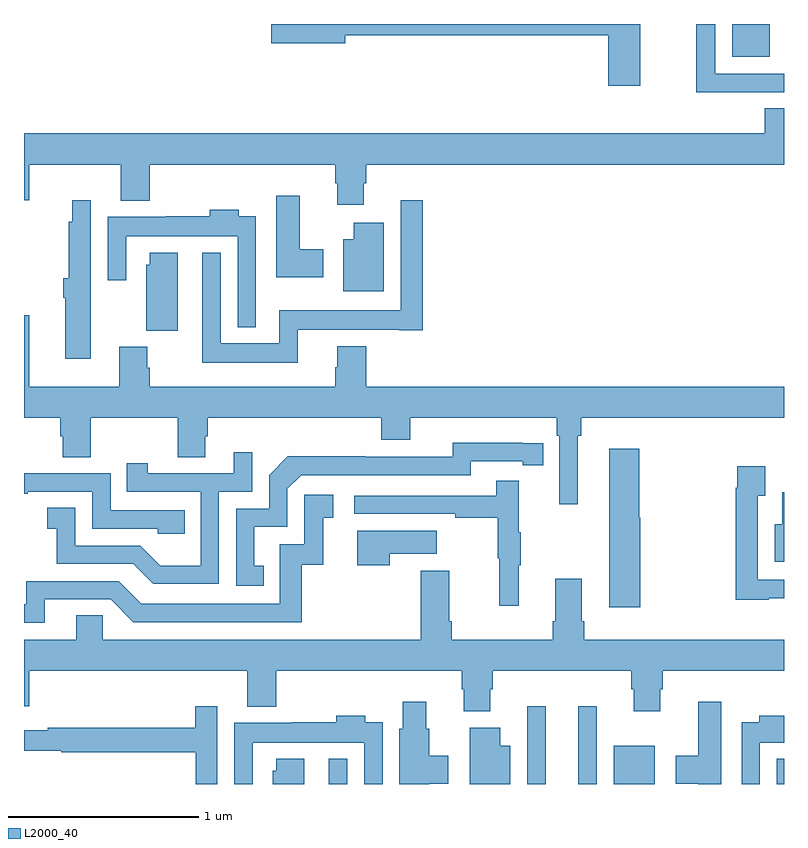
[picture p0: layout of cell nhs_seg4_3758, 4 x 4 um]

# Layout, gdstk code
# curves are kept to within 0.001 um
import gdstk
lib = gdstk.Library(unit=1e-6, precision=1e-09)
def R(c, l, rs):  # rectangles x0, y0, x1, y1
    for r in rs: c.add(gdstk.rectangle(r[:2], r[2:], *l))
def P(c, l, *ps):  # polygons
    for p in ps: c.add(gdstk.Polygon(p, *l))
L2000_40 = (2000, 40)

nhs_seg4_3758 = lib.new_cell('nhs_seg4_3758')
R(nhs_seg4_3758, L2000_40, [(310.604,786.9,310.701,787.033), (311.649,786.9,311.746,787.309), (311.918,786.9,312.015,787.309), (312.104,786.9,312.319,787.102), (312.963,786.9,313,787.033), (312.728,790.727,312.925,790.9)])
P(nhs_seg4_3758, L2000_40, [(312.815,790.542),(313,790.542),(313,790.638),(312.639,790.638),(312.639,790.9),(312.538,790.9),(312.538,790.541),(312.815,790.541)],
  [(312.244,790.9),(310.302,790.9),(310.302,790.798),(310.69,790.798),(310.69,790.84),(312.074,790.84),(312.074,790.575),(312.244,790.575)],
  [(310.789,790.062),(310.802,790.062),(310.802,790.16),(313,790.16),(313,790.457),(312.899,790.457),(312.899,790.324),(309,790.324),(309,789.972),(309.028,789.972),(309.028,790.16),(309.509,790.16),(309.509,789.971),(309.662,789.971),(309.662,790.16),(310.637,790.16),(310.637,790.062),(310.649,790.062),(310.649,789.948),(310.789,789.948)],
  [(310.576,789.714),(310.45,789.714),(310.45,789.997),(310.328,789.997),(310.328,789.566),(310.576,789.566)],
  [(309.352,789.458),(309.351,789.458),(309.351,789.973),(309.253,789.973),(309.253,789.86),(309.235,789.86),(309.235,789.562),(309.206,789.562),(309.206,789.458),(309.218,789.458),(309.218,789.138),(309.352,789.138)],
  [(310.442,789.29),(310.976,789.29),(310.976,789.288),(311.099,789.288),(311.099,789.973),(310.983,789.973),(310.983,789.394),(310.344,789.394),(310.344,789.22),(310.035,789.22),(310.035,789.697),(309.938,789.697),(309.938,789.116),(310.442,789.116)],
  [(310.221,789.889),(310.129,789.889),(310.129,789.922),(309.977,789.922),(309.977,789.889),(309.745,789.889),(309.745,789.886),(309.441,789.886),(309.441,789.552),(309.537,789.552),(309.537,789.782),(310.125,789.782),(310.125,789.305),(310.221,789.305)],
  [(310.894,789.853),(310.736,789.853),(310.736,789.766),(310.679,789.766),(310.679,789.494),(310.894,789.494)],
  [(309.808,789.697),(309.662,789.697),(309.662,789.633),(309.644,789.633),(309.644,789.286),(309.808,789.286)],
  [(311.914,788.732),(311.933,788.732),(311.933,788.828),(313,788.828),(313,788.992),(310.802,788.992),(310.802,789.205),(310.649,789.205),(310.649,789.093),(310.637,789.093),(310.637,788.992),(309.662,788.992),(309.662,789.092),(309.649,789.092),(309.649,789.201),(309.502,789.201),(309.502,788.992),(309.028,788.992),(309.028,789.367),(309,789.367),(309,788.828),(309.191,788.828),(309.191,788.73),(309.203,788.73),(309.203,788.62),(309.351,788.62),(309.351,788.828),(309.808,788.828),(309.808,788.62),(309.955,788.62),(309.955,788.73),(309.968,788.73),(309.968,788.828),(310.88,788.828),(310.88,788.711),(311.032,788.711),(311.032,788.828),(311.804,788.828),(311.804,788.732),(311.817,788.732),(311.817,788.373),(311.914,788.373)],
  [(310.262,788.049),(310.213,788.049),(310.213,788.253),(310.386,788.253),(310.386,788.454),(310.458,788.526),(311.352,788.526),(311.352,788.598),(311.624,788.598),(311.624,788.578),(311.732,788.578),(311.732,788.694),(311.256,788.695),(311.256,788.622),(310.796,788.622),(310.796,788.624),(310.388,788.624),(310.29,788.526),(310.29,788.349),(310.116,788.349),(310.116,787.944),(310.262,787.944)],
  [(312.244,788.301),(312.239,788.301),(312.239,788.665),(312.08,788.665),(312.08,787.83),(312.244,787.83)],
  [(310.026,788.439),(310.2,788.439),(310.2,788.647),(310.103,788.647),(310.103,788.535),(309.652,788.535),(309.652,788.587),(309.541,788.587),(309.541,788.439),(309.93,788.439),(309.93,788.05),(309.716,788.05),(309.612,788.154),(309.27,788.154),(309.27,788.353),(309.123,788.353),(309.123,788.243),(309.172,788.243),(309.172,788.058),(309.575,788.058),(309.68,787.953),(310.026,787.953)],
  [(312.921,787.878),(313,787.878),(313,787.974),(312.861,787.974),(312.861,788.416),(312.901,788.416),(312.901,788.572),(312.753,788.572),(312.753,788.459),(312.745,788.459),(312.745,787.871),(312.921,787.871)],
  [(309.845,788.34),(309.456,788.34),(309.456,788.535),(309,788.535),(309,788.427),(309.019,788.427),(309.019,788.439),(309.36,788.439),(309.36,788.244),(309.705,788.244),(309.705,788.217),(309.845,788.217)],
  [(311.603,788.051),(311.614,788.051),(311.614,788.225),(311.603,788.225),(311.603,788.497),(311.485,788.497),(311.485,788.418),(310.737,788.418),(310.737,788.322),(311.269,788.322),(311.269,788.302),(311.493,788.302),(311.493,788.088),(311.5,788.088),(311.5,787.839),(311.603,787.839)],
  [(313,788.436),(312.992,788.436),(312.992,788.266),(312.95,788.266),(312.95,788.069),(313,788.069)],
  [(309.109,787.872),(309.456,787.872),(309.576,787.752),(310.463,787.752),(310.463,788.055),(310.574,788.055),(310.574,788.301),(310.627,788.301),(310.627,788.422),(310.476,788.422),(310.476,788.163),(310.347,788.163),(310.347,787.848),(309.618,787.848),(309.498,787.968),(309.012,787.968),(309.012,787.845),(309,787.845),(309,787.749),(309.109,787.749)],
  [(310.925,788.111),(311.173,788.111),(311.173,788.233),(310.754,788.233),(310.754,788.052),(310.925,788.052)],
  [(311.455,787.398),(311.468,787.398),(311.468,787.496),(312.197,787.496),(312.197,787.398),(312.209,787.398),(312.209,787.284),(312.349,787.284),(312.349,787.398),(312.362,787.398),(312.362,787.496),(313,787.496),(313,787.66),(311.948,787.66),(311.948,787.756),(311.935,787.756),(311.935,787.981),(311.795,787.981),(311.795,787.756),(311.783,787.756),(311.783,787.66),(311.252,787.66),(311.252,787.756),(311.239,787.756),(311.239,788.023),(311.087,788.023),(311.087,787.66),(309.414,787.66),(309.414,787.787),(309.275,787.787),(309.275,787.66),(309,787.66),(309,787.308),(309.028,787.308),(309.028,787.496),(310.175,787.496),(310.175,787.307),(310.328,787.307),(310.328,787.496),(311.303,787.496),(311.303,787.398),(311.315,787.398),(311.315,787.284),(311.455,787.284)],
  [(311.134,786.902),(311.233,786.902),(311.233,787.05),(311.134,787.05),(311.134,787.191),(311.116,787.191),(311.116,787.333),(310.994,787.333),(310.994,787.191),(310.976,787.191),(310.976,786.9),(311.134,786.9)],
  [(312.67,787.333),(312.548,787.333),(312.548,787.05),(312.431,787.05),(312.431,786.902),(312.548,786.902),(312.548,786.9),(312.67,786.9)],
  [(310.017,787.309),(309.901,787.309),(309.901,787.195),(309.124,787.195),(309.124,787.182),(309,787.182),(309,787.074),(309.197,787.074),(309.197,787.066),(309.905,787.066),(309.905,786.9),(310.017,786.9)],
  [(310.203,787.118),(310.791,787.118),(310.791,786.9),(310.887,786.9),(310.887,787.225),(310.795,787.225),(310.795,787.258),(310.643,787.258),(310.643,787.225),(310.411,787.225),(310.411,787.222),(310.107,787.222),(310.107,786.9),(310.203,786.9)],
  [(312.873,787.118),(313,787.118),(313,787.258),(312.869,787.258),(312.869,787.225),(312.777,787.225),(312.777,786.9),(312.873,786.9)],
  [(311.56,787.102),(311.506,787.102),(311.506,787.195),(311.345,787.195),(311.345,786.9),(311.56,786.9)],
  [(310.474,787.033),(310.328,787.033),(310.328,786.969),(310.31,786.969),(310.31,786.9),(310.474,786.9)])

lib.write_gds('nhs_seg4_3758.gds')
